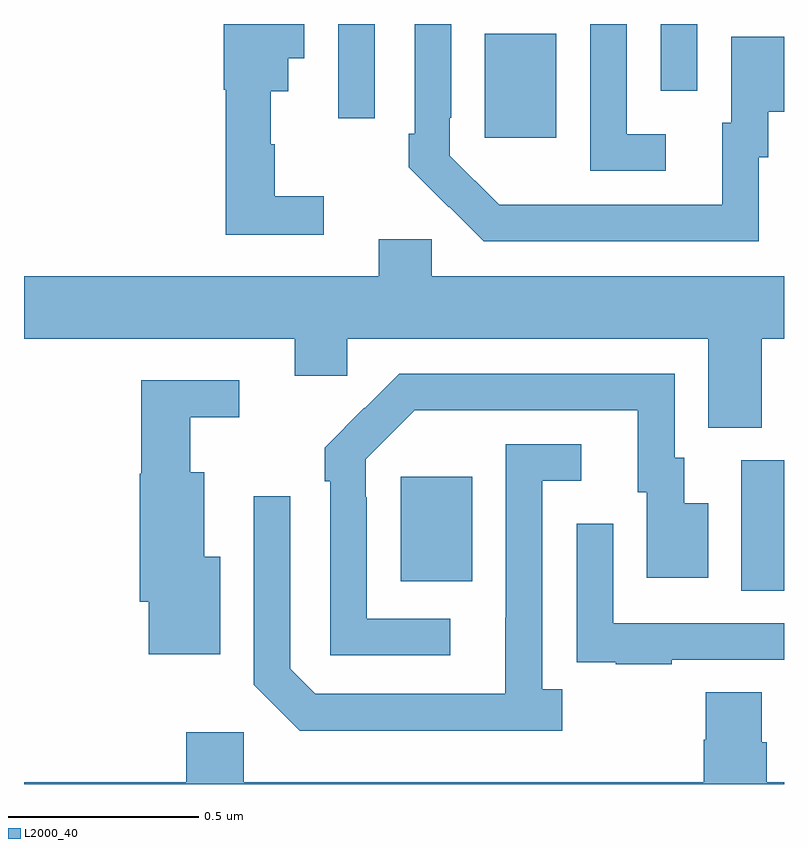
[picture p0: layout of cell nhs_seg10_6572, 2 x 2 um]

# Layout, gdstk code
import gdstk
lib = gdstk.Library(unit=1e-6, precision=1e-09)
def R(c, l, rs):  # rectangles x0, y0, x1, y1
    for r in rs: c.add(gdstk.rectangle(r[:2], r[2:], *l))
def P(c, l, *ps):  # polygons
    for p in ps: c.add(gdstk.Polygon(p, *l))
L2000_40 = (2000, 40)

nhs_seg10_6572 = lib.new_cell('nhs_seg10_6572')
R(nhs_seg10_6572, L2000_40, [(194.888,1277.008,195,1277.352), (193.991,1277.033,194.179,1277.308), (194.213,1278.201,194.401,1278.475), (193.827,1278.252,193.923,1278.5), (194.676,1278.324,194.772,1278.5)])
P(nhs_seg10_6572, L2000_40, [(194.934,1278.15),(194.959,1278.15),(194.959,1278.269),(195,1278.269),(195,1278.466),(194.861,1278.466),(194.861,1278.24),(194.837,1278.24),(194.837,1278.024),(194.353,1278.024),(194.353,1278.025),(194.25,1278.025),(194.121,1278.153),(194.121,1278.253),(194.124,1278.253),(194.124,1278.5),(194.028,1278.5),(194.028,1278.211),(194.013,1278.211),(194.013,1278.123),(194.118,1278.018),(194.119,1278.019),(194.21,1277.928),(194.934,1277.928)],
  [(194.689,1278.21),(194.586,1278.21),(194.586,1278.5),(194.49,1278.5),(194.49,1278.114),(194.689,1278.114)],
  [(193.789,1278.047),(193.66,1278.047),(193.66,1278.183),(193.649,1278.183),(193.649,1278.323),(193.696,1278.323),(193.696,1278.41),(193.738,1278.41),(193.738,1278.5),(193.526,1278.5),(193.526,1278.327),(193.531,1278.327),(193.531,1277.946),(193.789,1277.946)],
  [(194.941,1277.672),(195,1277.672),(195,1277.836),(194.073,1277.836),(194.073,1277.934),(193.934,1277.934),(193.934,1277.836),(193,1277.836),(193,1277.672),(193.712,1277.672),(193.712,1277.574),(193.851,1277.574),(193.851,1277.672),(194.801,1277.672),(194.801,1277.437),(194.941,1277.437)],
  [(194.122,1276.935),(193.902,1276.935),(193.902,1277.255),(193.899,1277.255),(193.899,1277.355),(194.028,1277.484),(194.615,1277.484),(194.615,1277.268),(194.639,1277.268),(194.639,1277.043),(194.8,1277.043),(194.8,1277.239),(194.737,1277.239),(194.737,1277.358),(194.712,1277.358),(194.712,1277.58),(193.988,1277.58),(193.897,1277.489),(193.896,1277.49),(193.791,1277.385),(193.791,1277.297),(193.806,1277.297),(193.806,1276.839),(194.122,1276.839)],
  [(193.516,1277.098),(193.474,1277.098),(193.474,1277.32),(193.438,1277.32),(193.438,1277.465),(193.567,1277.465),(193.567,1277.562),(193.309,1277.562),(193.309,1277.316),(193.304,1277.316),(193.304,1276.98),(193.328,1276.98),(193.328,1276.841),(193.516,1276.841)],
  [(194.416,1276.75),(194.364,1276.75),(194.364,1277.298),(194.467,1277.298),(194.467,1277.394),(194.268,1277.394),(194.268,1276.937),(194.267,1276.937),(194.267,1276.737),(193.767,1276.737),(193.701,1276.803),(193.701,1277.257),(193.605,1277.257),(193.605,1276.761),(193.726,1276.64),(194.416,1276.64)],
  [(194.705,1276.827),(195,1276.827),(195,1276.923),(194.55,1276.923),(194.55,1277.185),(194.454,1277.185),(194.454,1276.93),(194.455,1276.93),(194.455,1276.821),(194.557,1276.821),(194.557,1276.815),(194.705,1276.815)],
  [(195,1276.504),(194.954,1276.504),(194.954,1276.61),(194.941,1276.61),(194.941,1276.742),(194.794,1276.742),(194.794,1276.617),(194.789,1276.617),(194.789,1276.504),(193.578,1276.504),(193.578,1276.636),(193.427,1276.636),(193.427,1276.504),(193,1276.504),(193,1276.5),(195,1276.5)])

lib.write_gds('nhs_seg10_6572.gds')
